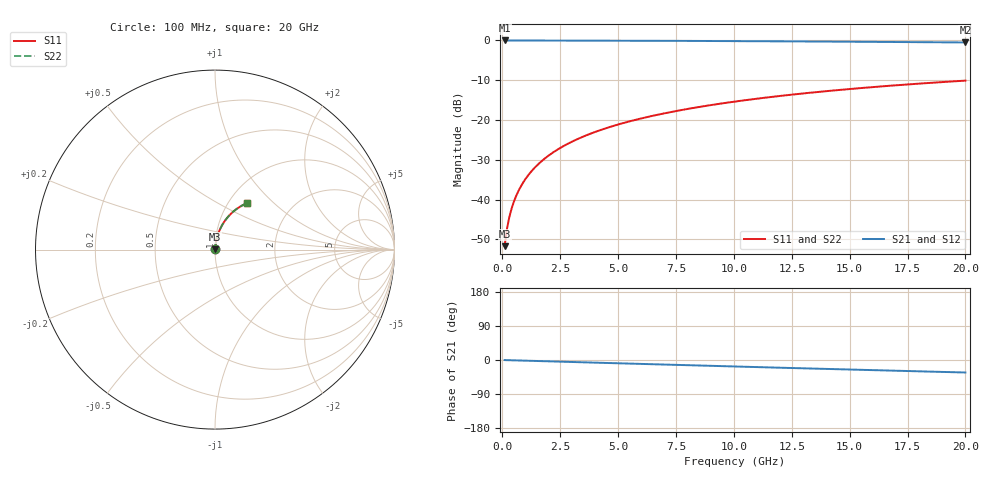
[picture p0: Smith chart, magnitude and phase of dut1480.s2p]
! Touchstone file exported from HFSS 2026.1.0
!  File:  C:/ffzhzh/LocalFiles/Ansys_Project_Files/temp_train_TMRDL_1480_1783167654_18472.aedt
!  Generated:  08:22:12 PM Jul  4, 2026
!  Design:  TMRDL
!  Project:  temp_train_TMRDL_1480_1783167654_18472
! Variables:
!  h_bsmrdl = 2um
!  h_ox = 20um
!  h_rdl = 5um
!  h_sub = 80um
!  h_tmrdl = 3.88um
!  h_tsv = 80um
!  h_via = 3um
!  l_bsmrdl = 300um
!  l_sub = 852.33um
!  l_tmrdl = 452.33um
!  m_sub = 200um
!  pitch = 58.31um
!  r_tsv = 6um
!  s_tmrdl = 10um
!  w_bsmrdl = 18um
!  w_sub = 500um
!  w_tmrdl = 27.57um
!  x_tsv_center1 = 466.115um
!  x_tsv_center2 = 784.115um
!  x_tsv_center3 = 1264.015um
!  x_tsv_center4 = 1582.015um
!  x_tsv_center5 = 2061.915um
!  x_tsv_center6 = 2379.915um
# GHz S MA R 50.000000
! Terminal data exported
! Port[1] = TM_RDL1_1_T1
! Port[2] = TM_RDL1_1_T2
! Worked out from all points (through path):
!   200 points, 100 MHz to 20 GHz, reference 50 ohm
!   highest |S21| = -0.02 dB at 100 MHz (marker M1); lowest = -0.5 dB at 20 GHz (marker M2)
!   group delay of S21, straight-line fit = 4.58 ps
!   lowest |S11| = -51.7 dB at 100 MHz (marker M3), VSWR 1.01, Z = 50.2 + j0.195 ohm
!   |S11| at or under -10 dB: start of sweep to end of sweep
!   |S22| runs from -51.7 to -10.1 dB; largest |S21 - S12| = 4e-15
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0.1  0.002603 48.3  0.9983 -0.2  0.9983 -0.2  0.002603 48.3
! Gamma 0 0 0 0
! Port Impedance 50 0 50 0
0.2  0.004247 64.0  0.9982 -0.4  0.9982 -0.4  0.004247 64.0
0.3  0.005967 70.4  0.998 -0.5  0.998 -0.5  0.005967 70.4
0.4  0.007691 73.9  0.9979 -0.7  0.9979 -0.7  0.007691 73.9
0.5  0.009418 76.2  0.9979 -0.9  0.9979 -0.9  0.009418 76.2
0.7  0.01289 79.0  0.9978 -1.2  0.9978 -1.2  0.01289 79.0
0.8  0.01464 79.9  0.9977 -1.4  0.9977 -1.4  0.01464 79.9
1  0.01814 81.1  0.9976 -1.8  0.9976 -1.8  0.01814 81.1
1.2  0.02166 81.8  0.9975 -2.1  0.9975 -2.1  0.02166 81.8
1.4  0.02519 82.2  0.9973 -2.5  0.9973 -2.5  0.02519 82.2
1.7  0.03048 82.4  0.9971 -3.0  0.9971 -3.0  0.03048 82.4
2  0.03576 82.4  0.9969 -3.5  0.9969 -3.5  0.03576 82.4
2.7  0.04806 82.0  0.9961 -4.7  0.9961 -4.7  0.04806 82.0
3.5  0.06201 81.1  0.995 -6.1  0.995 -6.1  0.06201 81.1
4.2  0.07411 80.1  0.9939 -7.3  0.9939 -7.3  0.07411 80.1
5  0.08779 78.9  0.9924 -8.7  0.9924 -8.7  0.08779 78.9
6.8  0.118 76.1  0.9885 -11.7  0.9885 -11.7  0.118 76.1
8.3  0.1426 73.7  0.9847 -14.2  0.9847 -14.2  0.1426 73.7
10.1  0.1713 70.9  0.9796 -17.2  0.9796 -17.2  0.1713 70.9
13.4  0.2217 65.7  0.9686 -22.6  0.9686 -22.6  0.2217 65.7
16.7  0.2689 60.6  0.9561 -27.9  0.9561 -27.9  0.2689 60.6
20  0.3124 55.6  0.9424 -33.0  0.9424 -33.0  0.3124 55.7
